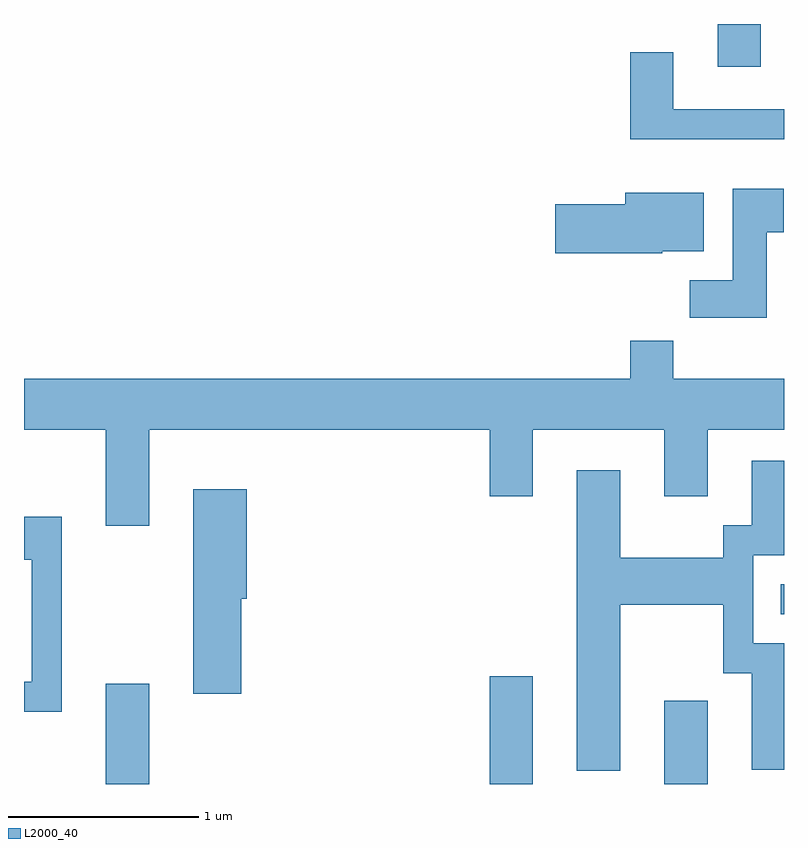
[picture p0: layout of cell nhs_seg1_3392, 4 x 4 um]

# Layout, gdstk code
import gdstk
lib = gdstk.Library(unit=1e-6, precision=1e-09)
def R(c, l, rs):  # rectangles x0, y0, x1, y1
    for r in rs: c.add(gdstk.rectangle(r[:2], r[2:], *l))
def P(c, l, *ps):  # polygons
    for p in ps: c.add(gdstk.Polygon(p, *l))
L2000_40 = (2000, 40)

nhs_seg1_3392 = lib.new_cell('nhs_seg1_3392')
R(nhs_seg1_3392, L2000_40, [(288.041,897.712,288.269,898.239), (290.061,897.712,290.289,898.279), (290.981,897.712,291.209,898.149), (291.593,898.606,291.611,898.764), (291.261,901.486,291.489,901.712)])
P(nhs_seg1_3392, L2000_40, [(291.611,901.264),(291.029,901.264),(291.029,901.564),(290.801,901.564),(290.801,901.106),(291.611,901.106)],
  [(291.519,900.616),(291.609,900.616),(291.609,900.844),(291.341,900.844),(291.341,900.364),(291.116,900.364),(291.116,900.166),(291.519,900.166)],
  [(290.97,900.516),(291.189,900.516),(291.189,900.824),(290.776,900.824),(290.776,900.764),(290.406,900.764),(290.406,900.506),(290.97,900.506)],
  [(287.611,899.576),(288.041,899.576),(288.041,899.071),(288.269,899.071),(288.269,899.576),(290.061,899.576),(290.061,899.226),(290.289,899.226),(290.289,899.576),(290.981,899.576),(290.981,899.226),(291.209,899.226),(291.209,899.576),(291.611,899.576),(291.611,899.844),(291.029,899.844),(291.029,900.044),(290.801,900.044),(290.801,899.844),(287.611,899.844)],
  [(290.749,898.656),(291.291,898.656),(291.291,898.296),(291.441,898.296),(291.441,897.786),(291.611,897.786),(291.611,898.454),(291.449,898.454),(291.449,898.916),(291.611,898.916),(291.611,899.414),(291.441,899.414),(291.441,899.074),(291.291,899.074),(291.291,898.904),(290.749,898.904),(290.749,899.364),(290.521,899.364),(290.521,897.781),(290.749,897.781)],
  [(288.754,898.686),(288.784,898.686),(288.784,899.264),(288.501,899.264),(288.501,898.186),(288.754,898.186)],
  [(287.809,899.119),(287.611,899.119),(287.611,898.891),(287.651,898.891),(287.651,898.249),(287.611,898.249),(287.611,898.091),(287.809,898.091)])

lib.write_gds('nhs_seg1_3392.gds')
